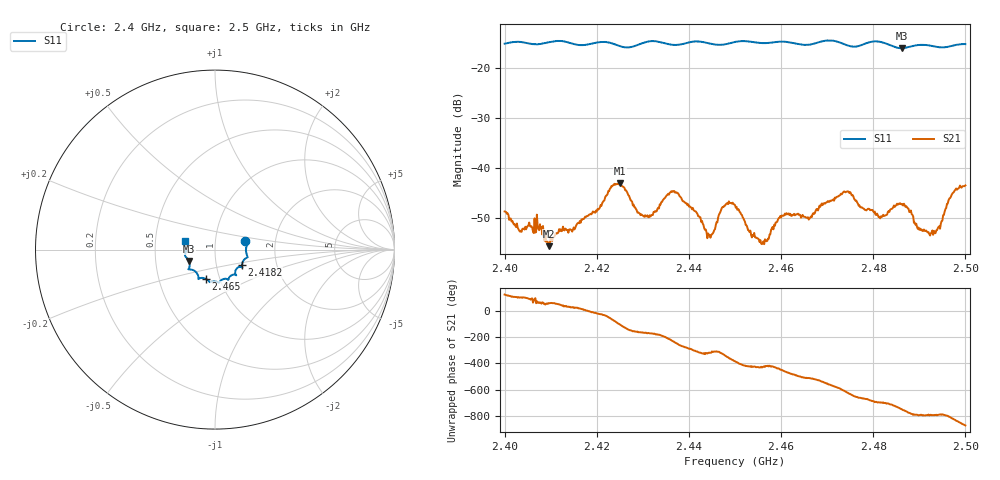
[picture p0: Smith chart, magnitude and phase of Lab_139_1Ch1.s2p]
# Hz S RI R 50
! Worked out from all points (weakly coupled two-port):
!   601 points, 2.4 GHz to 2.5 GHz, reference 50 ohm
!   highest |S21| = -43.06 dB at 2.425 GHz (marker M1); lowest = -55.6 dB at 2.4097 GHz (marker M2)
!   lowest |S11| = -16.0 dB at 2.4862 GHz (marker M3), VSWR 1.37, Z = 37.1 - j4.81 ohm
!   |S11| at or under -10 dB: start of sweep to end of sweep
!   S12 and S22 are empty: the file has one direction only
!   S11 on the Smith chart (normalised r, x): 2.4 GHz: 1.40, +0.13; 2.4182 GHz: 1.33, -0.23; 2.465 GHz: 0.86, -0.29; 2.5 GHz: 0.71, +0.07
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2.4e9  0.1689 0.0458  -0.00192 0.00313  0 0  0 0
2.4075e9  0.1733 -0.00891  0.00127 0.00202  0 0  0 0
2.409667e9  0.1783 -0.0327  0.000942 0.00135  0 0  0 0
2.416667e9  0.1548 -0.0685  0.00298 0.000669  0 0  0 0
2.418167e9  0.1498 -0.0851  0.00333 -0.000268  0 0  0 0
2.425e9  0.1345 -0.0968  -0.00178 -0.0068  0 0  0 0
2.429833e9  0.1133 -0.1355  -0.00329 -0.000802  0 0  0 0
2.433333e9  0.1169 -0.1411  -0.004 0.00016  0 0  0 0
2.437167e9  0.0888 -0.1451  -0.00237 0.00515  0 0  0 0
2.4445e9  0.0651 -0.1633  0.00164 0.00138  0 0  0 0
2.4475e9  0.0391 -0.1671  0.00361 0.00186  0 0  0 0
2.45e9  0.0249 -0.1805  0.0039 -0.00167  0 0  0 0
2.455833e9  0.000681 -0.1776  0.000566 -0.00163  0 0  0 0
2.460333e9  -0.0288 -0.1813  -0.000164 -0.00333  0 0  0 0
2.465e9  -0.0528 -0.162  -0.00273 -0.00175  0 0  0 0
2.466667e9  -0.0713 -0.1575  -0.00292 -0.00139  0 0  0 0
2.474167e9  -0.0959 -0.1399  -0.00131 0.00562  0 0  0 0
2.483333e9  -0.1421 -0.0958  0.00356 0.00103  0 0  0 0
2.486167e9  -0.1446 -0.0632  0.0039 -0.00185  0 0  0 0
2.492833e9  -0.1646 -0.0208  0.00073 -0.00225  0 0  0 0
2.4975e9  -0.1651 0.0318  -0.00131 -0.0056  0 0  0 0
2.5e9  -0.1668 0.0473  -0.00576 -0.00339  0 0  0 0
